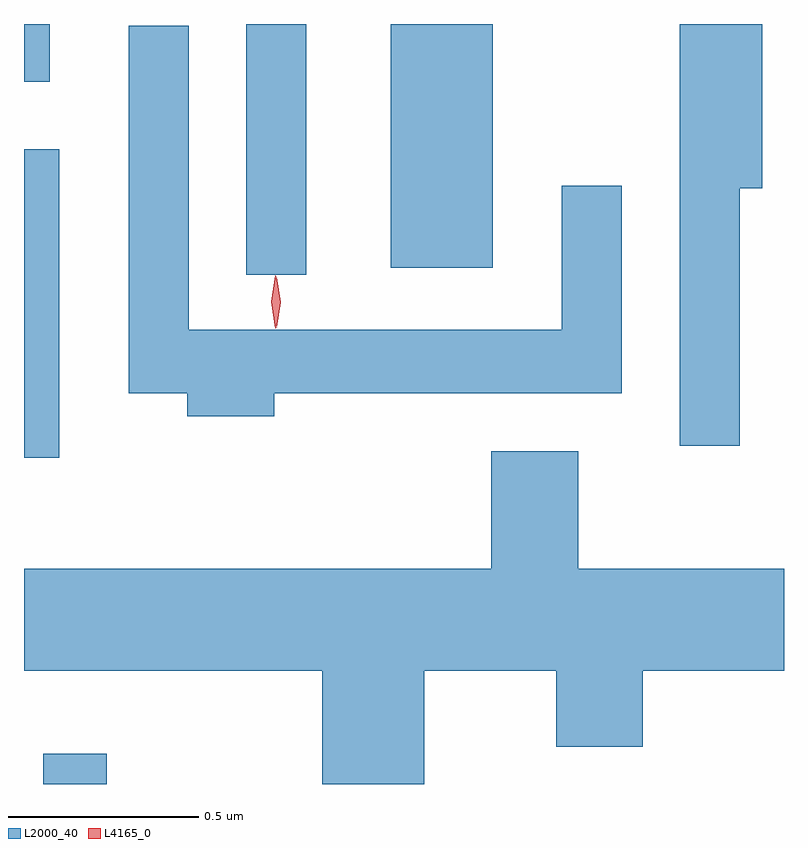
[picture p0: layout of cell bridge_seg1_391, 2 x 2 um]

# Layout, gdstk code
import gdstk
lib = gdstk.Library(unit=1e-6, precision=1e-09)
def R(c, l, rs):  # rectangles x0, y0, x1, y1
    for r in rs: c.add(gdstk.rectangle(r[:2], r[2:], *l))
def P(c, l, *ps):  # polygons
    for p in ps: c.add(gdstk.Polygon(p, *l))
L2000_40 = (2000, 40)
L4165_0 = (4165, 0)

bridge_seg1_391 = lib.new_cell('bridge_seg1_391')
R(bridge_seg1_391, L2000_40, [(873.681,859.318,873.849,859.398), (873.631,860.176,873.724,860.989), (874.216,860.658,874.374,861.318), (874.596,860.676,874.864,861.318), (873.631,861.166,873.699,861.318)])
P(bridge_seg1_391, L2000_40, [(875.514,860.886),(875.574,860.886),(875.574,861.318),(875.356,861.318),(875.356,860.208),(875.514,860.208)],
  [(874.289,860.346),(875.204,860.346),(875.204,860.893),(875.046,860.893),(875.046,860.514),(874.064,860.514),(874.064,861.313),(873.906,861.313),(873.906,860.346),(874.061,860.346),(874.061,860.286),(874.289,860.286)],
  [(874.684,859.616),(875.031,859.616),(875.031,859.416),(875.259,859.416),(875.259,859.616),(875.631,859.616),(875.631,859.884),(875.089,859.884),(875.089,860.194),(874.861,860.194),(874.861,859.884),(873.631,859.884),(873.631,859.616),(874.416,859.616),(874.416,859.318),(874.684,859.318)])
P(bridge_seg1_391, L4165_0, [(874.292,860.517),(874.292,860.518),(874.282,860.587),(874.292,860.656),(874.292,860.656),(874.293,860.656),(874.302,860.587),(874.293,860.518)],
  [(874.296,860.519),(874.296,860.52),(874.286,860.586),(874.296,860.652),(874.296,860.653),(874.296,860.652),(874.306,860.586),(874.296,860.52)])

lib.write_gds('bridge_seg1_391.gds')
